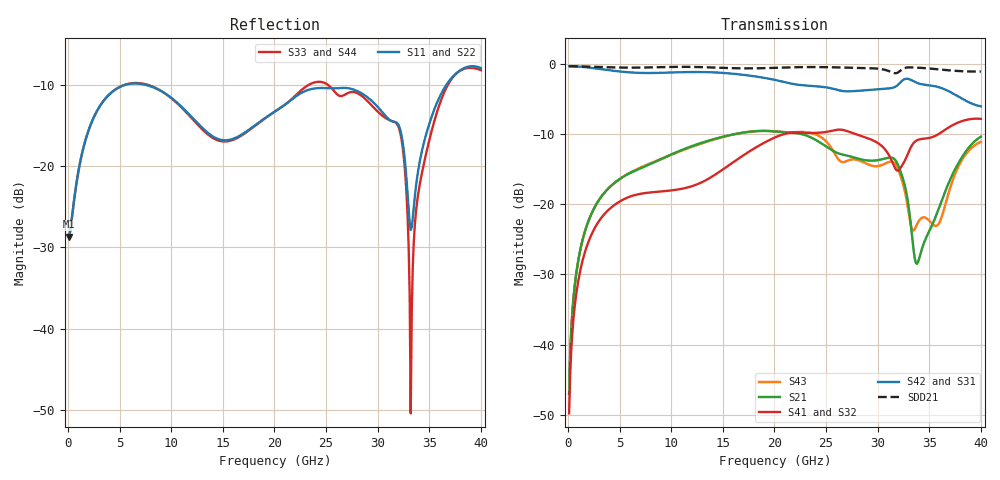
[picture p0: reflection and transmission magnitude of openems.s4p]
! P_ts6_finger_diff: gold-finger pair 0.7 × 2.1 mm, pitch 1 mm, between GND fingers (gap 0.3 mm), every plane cut back
! stackup: ThunderScope Rev5.3 6-layer (FR408HR / FR-4, from the board file)
! ports: 1 P near, 2 N near, 3 P far, 4 N far
! openEMS 0.37.0, staircase, fine mesh (dfine 0.0175 mm), 5145654 cells
# Hz S RI R 50
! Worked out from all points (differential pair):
!   400 points, 100 MHz to 40 GHz, reference 50 ohm
!   strongest paths, dB at 100 MHz, 10.1 GHz, 20.1 GHz, 30.1 GHz, 40 GHz:
!     S42: -0.3, -1.2, -2.3, -3.6, -6.0
!     S31: -0.3, -1.2, -2.3, -3.6, -6.0
!     S41: -49.8, -18.0, -10.4, -11.4, -7.8
!     S32: -49.8, -18.0, -10.4, -11.4, -7.8
!     S21: -47.0, -12.8, -9.6, -13.7, -10.4
!     S43: -47.0, -12.9, -9.6, -14.5, -11.1
!   taken as a pair (ports 2,1 in; 4,3 out), SDD21 dB: -0.3, -0.4, -0.6, -0.7, -1.1
!   lowest |S11| = -28.7 dB at 100 MHz (marker M1), VSWR 1.08, Z = 46.6 + j0.924 ohm
!   |S11| at or under -10 dB: start of sweep to 5.522 GHz; 7.515 GHz to 36.66 GHz (29.14 GHz wide, 132 % of centre)
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1e8  -0.0355 0.00991  0.00193 0.00402  0.9631 -0.0306  0.00124 -0.00299
     0.00193 0.00402  -0.0355 0.00991  0.00124 -0.00299  0.9631 -0.0306
     0.9631 -0.0306  0.00124 -0.00299  -0.0355 0.00991  0.00193 0.00402
     0.00124 -0.00299  0.9631 -0.0306  0.00193 0.00402  -0.0355 0.00991
1.03e10  0.0148 -0.2538  -0.00367 -0.2314  -0.8605 -0.1275  0.0617 0.1101
         -0.00367 -0.2314  0.0148 -0.2538  0.0617 0.1101  -0.8605 -0.1275
         -0.8605 -0.1275  0.0614 0.1103  0.0115 -0.2522  -0.00656 -0.2298
         0.0614 0.1103  -0.8605 -0.1275  -0.00656 -0.2298  0.0115 -0.2522
2.02e10  0.0507 0.2143  -0.0474 0.3259  0.727 0.237  -0.044 -0.2991
         -0.0474 0.3259  0.0507 0.2143  -0.044 -0.2991  0.727 0.237
         0.727 0.237  -0.0431 -0.2996  0.0464 0.215  -0.0508 0.3262
         -0.0431 -0.2996  0.727 0.237  -0.0508 0.3262  0.0464 0.215
2.81e10  0.2795 -0.0708  0.1935 -0.0846  -0.1544 -0.624  -0.0483 0.309
         0.1935 -0.0846  0.2795 -0.0708  -0.0483 0.309  -0.1544 -0.624
         -0.1544 -0.6241  -0.0518 0.3078  0.2715 -0.0675  0.1879 -0.0851
         -0.0518 0.3078  -0.1544 -0.6241  0.1879 -0.0851  0.2715 -0.0675
3.23e10  0.00774 -0.1558  -0.0531 -0.1547  -0.7357 -0.1494  0.1252 0.1311
         -0.0531 -0.1547  0.00774 -0.1558  0.1252 0.1311  -0.7357 -0.1494
         -0.7358 -0.1493  0.1246 0.1376  0.0281 -0.1447  -0.0308 -0.149
         0.1246 0.1376  -0.7358 -0.1493  -0.0308 -0.149  0.0281 -0.1447
3.32e10  -0.0365 0.0175  -0.0483 -0.0542  -0.7545 0.1564  0.1853 0.1695
         -0.0483 -0.0542  -0.0365 0.0175  0.1853 0.1695  -0.7545 0.1564
         -0.7543 0.1566  0.19 0.1675  -0.00294 0.0007  -0.0194 -0.0691
         0.19 0.1675  -0.7543 0.1566  -0.0194 -0.0691  -0.00294 0.0007
4e10  0.1257 -0.3806  -0.1554 -0.2597  0.3029 0.396  -0.0885 -0.3916
      -0.1554 -0.2597  0.1257 -0.3806  -0.0885 -0.3916  0.3029 0.396
      0.3031 0.3961  -0.085 -0.3968  0.1411 -0.3628  -0.1422 -0.2396
      -0.085 -0.3968  0.3031 0.3961  -0.1422 -0.2396  0.1411 -0.3628
